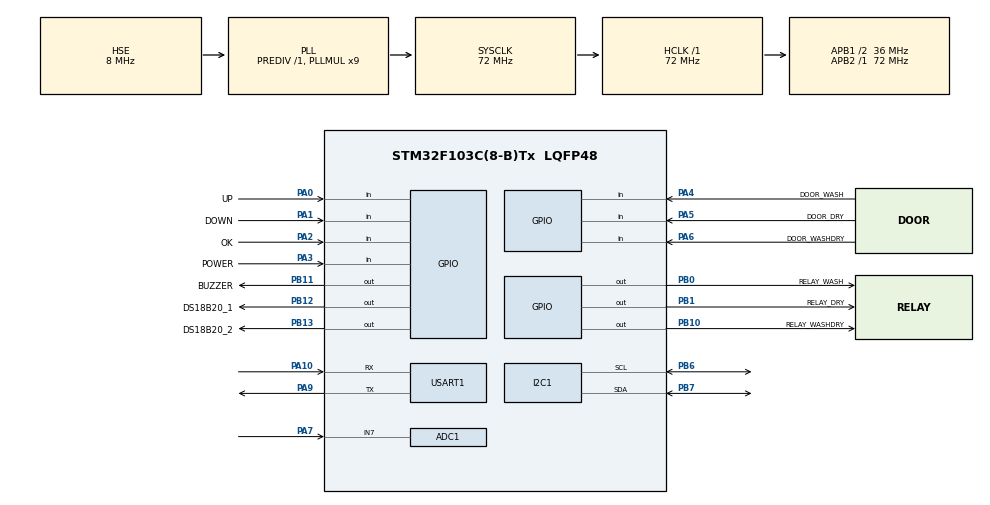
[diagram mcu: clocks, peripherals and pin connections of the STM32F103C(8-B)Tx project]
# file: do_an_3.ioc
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ADC1.Channel-0\#ChannelRegularConversion=ADC_CHANNEL_7
ADC1.ContinuousConvMode=ENABLE
ADC1.NbrOfConversionFlag=1
ADC1.Rank-0\#ChannelRegularConversion=1
ADC1.SamplingTime-0\#ChannelRegularConversion=ADC_SAMPLETIME_239CYCLES_5
ADC1.master=1
I2C1.I2C_Mode=I2C_Fast
Mcu.Family=STM32F1
Mcu.Name=STM32F103C(8-B)Tx
Mcu.Package=LQFP48
NVIC.PriorityGroup=NVIC_PRIORITYGROUP_4
NVIC.TIM2_IRQn=true\:0\:0\:false\:false\:true\:true\:true\:true
PA0-WKUP.GPIO_Label=UP
PA0-WKUP.GPIO_PuPd=GPIO_PULLUP
PA0-WKUP.Signal=GPIO_Input
PA1.GPIO_Label=DOWN
PA1.GPIO_PuPd=GPIO_PULLUP
PA1.Signal=GPIO_Input
PA10.Mode=Asynchronous
PA10.Signal=USART1_RX
PA13.Mode=Serial_Wire
PA13.Signal=SYS_JTMS-SWDIO
PA14.Mode=Serial_Wire
PA14.Signal=SYS_JTCK-SWCLK
PA2.GPIO_Label=OK
PA2.GPIO_PuPd=GPIO_PULLUP
PA2.Signal=GPIO_Input
PA3.GPIO_Label=POWER
PA3.GPIO_PuPd=GPIO_PULLUP
PA3.Signal=GPIO_Input
PA4.GPIO_Label=DOOR_WASH
PA4.GPIO_PuPd=GPIO_PULLUP
PA4.Signal=GPIO_Input
PA5.GPIO_Label=DOOR_DRY
PA5.GPIO_PuPd=GPIO_PULLUP
PA5.Signal=GPIO_Input
PA6.GPIO_Label=DOOR_WASHDRY
PA6.GPIO_PuPd=GPIO_PULLUP
PA6.Signal=GPIO_Input
PA7.Signal=ADCx_IN7
PA9.Mode=Asynchronous
PA9.Signal=USART1_TX
PB0.GPIO_Label=RELAY_WASH
PB0.Signal=GPIO_Output
PB1.GPIO_Label=RELAY_DRY
PB1.Signal=GPIO_Output
PB10.GPIO_Label=RELAY_WASHDRY
PB10.Signal=GPIO_Output
PB11.GPIO_Label=BUZZER
PB11.Signal=GPIO_Output
PB12.GPIO_Label=DS18B20_1
PB12.GPIO_ModeDefaultOutputPP=GPIO_MODE_OUTPUT_OD
PB12.GPIO_PuPd=GPIO_NOPULL
PB12.GPIO_Speed=GPIO_SPEED_FREQ_HIGH
PB12.Signal=GPIO_Output
PB13.GPIO_Label=DS18B20_2
PB13.GPIO_ModeDefaultOutputPP=GPIO_MODE_OUTPUT_OD
PB13.GPIO_PuPd=GPIO_NOPULL
PB13.GPIO_Speed=GPIO_SPEED_FREQ_HIGH
PB13.Signal=GPIO_Output
PB6.Mode=I2C
PB6.Signal=I2C1_SCL
PB7.Mode=I2C
PB7.Signal=I2C1_SDA
PD0-OSC_IN.Mode=HSE-External-Oscillator
PD0-OSC_IN.Signal=RCC_OSC_IN
PD1-OSC_OUT.Mode=HSE-External-Oscillator
PD1-OSC_OUT.Signal=RCC_OSC_OUT
ProjectManager.HeapSize=0x200
ProjectManager.StackSize=0x400
ProjectManager.TargetToolchain=MDK-ARM V5.32
RCC.ADCPresc=RCC_ADCPCLK2_DIV6
RCC.AHBFreq_Value=72000000
RCC.APB1CLKDivider=RCC_HCLK_DIV2
RCC.APB1Freq_Value=36000000
RCC.APB1TimFreq_Value=72000000
RCC.APB2Freq_Value=72000000
RCC.APB2TimFreq_Value=72000000
RCC.HCLKFreq_Value=72000000
RCC.PLLMUL=RCC_PLL_MUL9
RCC.PLLSourceVirtual=RCC_PLLSOURCE_HSE
RCC.SYSCLKFreq_VALUE=72000000
RCC.SYSCLKSource=RCC_SYSCLKSOURCE_PLLCLK
RCC.USBFreq_Value=72000000
SH.ADCx_IN7.0=ADC1_IN7,IN7
TIM2.Period=9
TIM2.Prescaler=7199
TIM3.Prescaler=71
USART1.VirtualMode=VM_ASYNC
VP_TIM2_VS_ClockSourceINT.Mode=Internal
VP_TIM3_VS_ClockSourceINT.Mode=Internal
board=custom

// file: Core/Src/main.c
/* USER CODE BEGIN Header */
/**
  ******************************************************************************
  * @file           : main.c
  * @brief          : Main program body
  ******************************************************************************
  * @attention
  *
  * Copyright (c) 2026 STMicroelectronics.
  * All rights reserved.
  *
  * This software is licensed under terms that can be found in the LICENSE file
  * in the root directory of this software component.
  * If no LICENSE file comes with this software, it is provided AS-IS.
  *
  ******************************************************************************
  */
/* USER CODE END Header */
#include "main.h"
#include "adc.h"
#include "i2c.h"
#include "tim.h"
#include "usart.h"
#include "gpio.h"

/* USER CODE BEGIN Includes */
#include "ssd1306.h"
#include "fonts.h"
#include <stdio.h>
#include <string.h>
#include "ds18b20.h"
/* USER CODE END Includes */

/* USER CODE BEGIN PV */
volatile uint32_t g_ms = 0;

uint16_t ADC_Value = 0;
uint8_t SpeedFactor = 1;

char oledStr[32];

uint32_t LastTick = 0;

/* WASH */
uint8_t WashReady = 0;
uint8_t DryReady = 0;
uint8_t WashDryReady = 0;

uint8_t WashBusy = 0;
uint8_t DryBusy = 0;
uint8_t WashDryBusy = 0;

uint32_t WashTime = 0;
uint32_t DryTime = 0;
uint32_t WashDryTime = 0;

uint8_t WashDryStage = 0;

uint8_t LocalMode = 0;

uint8_t Cursor = 0;
uint32_t OkPressStart = 0;
uint8_t LocalMenu = 0;
uint8_t OkOld = 0;
float TempDry = 0;
float TempWashDry = 0;

uint32_t TempTick = 0;

char uartRxBuf[32];
uint8_t uartRxIdx = 0;
char uartPendingCmd[32];
volatile uint8_t uartCmdPending = 0;
volatile uint8_t uartRxByte = 0;

uint32_t lastUartTimeValue = 255;
/* Bộ đếm riêng giới hạn gửi TIME qua UART tối đa 1 lần/giây */
uint32_t lastUartReportTick = 0;
/* USER CODE END PV */

void SystemClock_Config(void);

/* USER CODE BEGIN 0 */

void Relay_All_Off(void)
{
    HAL_GPIO_WritePin(GPIOB,
                      RELAY_WASH_Pin |
                      RELAY_DRY_Pin |
                      RELAY_WASHDRY_Pin,
                      GPIO_PIN_SET);
}

void Wash_On(void)
{
    HAL_GPIO_WritePin(RELAY_WASH_GPIO_Port,
                      RELAY_WASH_Pin,
                      GPIO_PIN_RESET);
}

void Dry_On(void)
{
    HAL_GPIO_WritePin(RELAY_DRY_GPIO_Port,
                      RELAY_DRY_Pin,
                      GPIO_PIN_RESET);
}

void WashDry_On(void)
{
    HAL_GPIO_WritePin(RELAY_WASHDRY_GPIO_Port,
                      RELAY_WASHDRY_Pin,
                      GPIO_PIN_RESET);
}
uint8_t BtnUP(void)
{
    return (HAL_GPIO_ReadPin(UP_GPIO_Port,UP_Pin)==GPIO_PIN_RESET);
}

uint8_t BtnDOWN(void)
{
    return (HAL_GPIO_ReadPin(DOWN_GPIO_Port,DOWN_Pin)==GPIO_PIN_RESET);
}

uint8_t BtnOK(void)
{
    return (HAL_GPIO_ReadPin(OK_GPIO_Port,OK_Pin)==GPIO_PIN_RESET);
}

uint8_t BtnPOWER(void)
{
    return (HAL_GPIO_ReadPin(POWER_GPIO_Port,POWER_Pin)==GPIO_PIN_RESET);
}
uint16_t ADC_Read(void)
{
    HAL_ADC_Start(&hadc1);

    HAL_ADC_PollForConversion(&hadc1,10);

    return HAL_ADC_GetValue(&hadc1);

}
uint8_t DoorWashClosed(void)
{
    return (HAL_GPIO_ReadPin(DOOR_WASH_GPIO_Port,
                             DOOR_WASH_Pin)
            == GPIO_PIN_RESET);
}

uint8_t DoorDryClosed(void)
{
    return (HAL_GPIO_ReadPin(DOOR_DRY_GPIO_Port,
                             DOOR_DRY_Pin)
            == GPIO_PIN_RESET);
}

uint8_t DoorWashDryClosed(void)
{
    return (HAL_GPIO_ReadPin(DOOR_WASHDRY_GPIO_Port,
                             DOOR_WASHDRY_Pin)
            == GPIO_PIN_RESET);
}
void Buzzer_On(void)
{
    HAL_GPIO_WritePin(BUZZER_GPIO_Port,
                      BUZZER_Pin,
                      GPIO_PIN_SET);
}

void Buzzer_Off(void)
{
    HAL_GPIO_WritePin(BUZZER_GPIO_Port,
                      BUZZER_Pin,
                      GPIO_PIN_RESET);
}

void Buzzer_Beep(uint8_t times)
{
    for(uint8_t i=0;i<times;i++)
    {
        Buzzer_On();
        HAL_Delay(150);

        Buzzer_Off();
        HAL_Delay(150);
    }
}
void StartWash(void)
{
    if(WashBusy == 0)
    {
        WashBusy = 1;
        WashTime = 60;

        Wash_On();
    }
}

void StartDry(void)
{
    if(DryBusy == 0)
    {
        DryBusy = 1;
        DryTime = 45;

        Dry_On();
    }
}

void StartWashDry(void)
{
    if(WashDryBusy == 0)
    {
        WashDryBusy = 1;

        WashDryStage = 1;

        WashDryTime = 60;

        WashDry_On();
    }
}
void GrantWash(void)
{
    WashReady = 1;
}

void GrantDry(void)
{
    DryReady = 1;
}

void GrantWashDry(void)
{
    WashDryReady = 1;
}

void UART_SendLine(const char *msg)
{
    HAL_UART_Transmit(&huart1,
                      (uint8_t *)msg,
                      strlen(msg),
                      100);
    HAL_UART_Transmit(&huart1,
                      (uint8_t *)"\r\n",
                      2,
                      100);
}

uint8_t MachineBusy(void)
{
    return (WashBusy || DryBusy || WashDryBusy);
}

uint8_t MachineReady(void)
{
    return (WashReady || DryReady || WashDryReady);
}

void UART_ReportTime(void)
{
    uint32_t timeLeft = 0;

    if(WashBusy)
        timeLeft = WashTime;
    else if(DryBusy)
        timeLeft = DryTime;
    else if(WashDryBusy)
        timeLeft = WashDryTime;
    else
        return;

    if(timeLeft != lastUartTimeValue)
{
    char buf[16];

    lastUartTimeValue = timeLeft;

    sprintf(buf, "TIME:%lu", timeLeft);
    UART_SendLine(buf);
}
}

void UART_NormalizeCmd(char *cmd)
{
    char *start = cmd;
    char *end;

    while(*start == ' ' || *start == '\t')
        start++;

    if(start != cmd)
        memmove(cmd, start, strlen(start) + 1);

    end = cmd + strlen(cmd);
    while(end > cmd)
    {
        char c = *(end - 1);

        if(c == ' ' || c == '\t' || c == '\r' || c == '\n')
        {
            *(--end) = '\0';
        }
        else
        {
            break;
        }
    }

    for(char *p = cmd; *p; p++)
    {
        if(*p >= 'a' && *p <= 'z')
            *p = (char)(*p - 'a' + 'A');
    }
}

void ProcessUARTCommand(char *cmd)
{
    UART_NormalizeCmd(cmd);

    if(strlen(cmd) == 0)
        return;

    if(strcmp(cmd, "WASH") == 0)
    {
        if(MachineBusy())
        {
            UART_SendLine("BUSY");
            return;
        }

        GrantWash();
        LocalMenu = 0;
        Buzzer_Beep(2);
        UART_SendLine("WASH READY");
				lastUartTimeValue = 255;
UART_ReportTime();
    }
    else if(strcmp(cmd, "DRY") == 0)
    {
        if(MachineBusy())
        {
            UART_SendLine("BUSY");
            return;
        }

        GrantDry();
        LocalMenu = 0;
        Buzzer_Beep(2);
        UART_SendLine("DRY READY");
				lastUartTimeValue = 255;
UART_ReportTime();
    }
    else if(strcmp(cmd, "WASHDRY") == 0)
    {
        if(MachineBusy())
        {
            UART_SendLine("BUSY");
            return;
        }

        GrantWashDry();
        LocalMenu = 0;
        Buzzer_Beep(2);
        UART_SendLine("WASHDRY READY");
				lastUartTimeValue = 255;
UART_ReportTime();
    }
    else if(strcmp(cmd, "STOP") == 0)
    {
        WashReady = 0;
        DryReady = 0;
        WashDryReady = 0;
        WashBusy = 0;
        DryBusy = 0;
        WashDryBusy = 0;
        WashDryStage = 0;

        Relay_All_Off();
        /* FIX: gửi TIME:0 trước FREE để Blynk reset V3 đồng bộ */
        UART_SendLine("TIME:0");
        lastUartTimeValue = 255;

        UART_SendLine("FREE");
    }
    else
    {
        UART_SendLine("ERROR");
    }
}

void UART_OnByte(uint8_t c)
{
    if(c == '\r' || c == '\n')
    {
        if(uartRxIdx > 0)
        {
            uartRxBuf[uartRxIdx] = '\0';
            strncpy(uartPendingCmd, uartRxBuf, sizeof(uartPendingCmd) - 1);
            uartPendingCmd[sizeof(uartPendingCmd) - 1] = '\0';
            uartCmdPending = 1;
            uartRxIdx = 0;
        }
    }
    else if(uartRxIdx < (sizeof(uartRxBuf) - 1))
    {
        uartRxBuf[uartRxIdx++] = c;
    }
    else
    {
        uartRxIdx = 0;
    }
}

void UART_StartReceive(void)
{
    uartRxIdx = 0;
    uartCmdPending = 0;
    HAL_UART_Receive_IT(&huart1, (uint8_t *)&uartRxByte, 1);
}

void UART_ProcessPending(void)
{
    if(uartCmdPending)
    {
        uartCmdPending = 0;
        ProcessUARTCommand(uartPendingCmd);
    }
}
/* USER CODE END 0 */

int main(void)
{

  /* MCU Configuration--------------------------------------------------------*/

  /* Reset of all peripherals, Initializes the Flash interface and the Systick. */
  HAL_Init();

  /* Configure the system clock */
  SystemClock_Config();

  /* Initialize all configured peripherals */
  MX_GPIO_Init();
  MX_I2C1_Init();
  MX_TIM2_Init();
  MX_USART1_UART_Init();
  MX_ADC1_Init();
  MX_TIM3_Init();
  /* USER CODE BEGIN 2 */
HAL_TIM_Base_Start_IT(&htim2);
HAL_TIM_Base_Start(&htim3);

Relay_All_Off();
Buzzer_Off();

SSD1306_Init();

SSD1306_Fill(SSD1306_COLOR_BLACK);
SSD1306_UpdateScreen();

SSD1306_Fill(SSD1306_COLOR_BLACK);

SSD1306_GotoXY(0,0);

SSD1306_Puts("STM32 READY",
             &Font_7x10,
             SSD1306_COLOR_WHITE);

SSD1306_UpdateScreen();

UART_StartReceive();
UART_SendLine("FREE");

  /* USER CODE END 2 */

  /* Infinite loop */
  /* USER CODE BEGIN WHILE */
while(1)
{
    UART_ProcessPending();

    ADC_Value = ADC_Read();

    SpeedFactor = 1 + (ADC_Value * 19) / 4095;
	if((g_ms - TempTick) >= 15000)
{
    TempTick = g_ms;

    TempDry =
        DS18B20_Read(DS18B20_1_GPIO_Port,
                     DS18B20_1_Pin);

    TempWashDry =
        DS18B20_Read(DS18B20_2_GPIO_Port,
                     DS18B20_2_Pin);
}
if(TempDry > 60)
{
    DryBusy = 0;
    DryReady = 0;

    HAL_GPIO_WritePin(RELAY_DRY_GPIO_Port,
                      RELAY_DRY_Pin,
                      GPIO_PIN_SET);

    Buzzer_Beep(5);
    UART_SendLine("ERROR");
    UART_SendLine("FREE");
    lastUartTimeValue = 255;
}

if(TempWashDry > 60)
{
    WashDryBusy = 0;
    WashDryReady = 0;

    HAL_GPIO_WritePin(RELAY_WASHDRY_GPIO_Port,
                      RELAY_WASHDRY_Pin,
                      GPIO_PIN_SET);

    Buzzer_Beep(5);
    UART_SendLine("ERROR");
    UART_SendLine("FREE");
    lastUartTimeValue = 255;
}
uint8_t OkNew = BtnOK();

if(OkNew && !OkOld)
{
    if(LocalMenu == 0)
    {
        LocalMenu = 1;

        while(BtnOK());

        HAL_Delay(20);
    }
}

OkOld = OkNew;

	if(BtnPOWER())
{
    if(WashReady &&
       DoorWashClosed())
    {
        WashReady = 0;
        StartWash();

UART_SendLine("BUSY");

lastUartTimeValue = 255;
UART_ReportTime();
    }

    if(DryReady &&
       DoorDryClosed())
    {
        DryReady = 0;
        StartDry();
UART_SendLine("BUSY");

lastUartTimeValue = 255;
UART_ReportTime();
    }

    if(WashDryReady &&
       DoorWashDryClosed())
    {
        WashDryReady = 0;
        StartWashDry();

UART_SendLine("BUSY");

lastUartTimeValue = 255;
UART_ReportTime();
    }

    HAL_Delay(20);
}
if(LocalMenu)
{
    if(BtnUP())
    {
        if(Cursor > 0)
            Cursor--;

        HAL_Delay(200);
    }

    if(BtnDOWN())
    {
        if(Cursor < 2)
            Cursor++;

        HAL_Delay(200);
    }

    if(BtnOK())
{
    while(BtnOK());

    switch(Cursor)
    {
        case 0:
    GrantWash();
    UART_SendLine("WASH READY");
    lastUartTimeValue = 255;
    UART_ReportTime();
    break;

case 1:
    GrantDry();
    UART_SendLine("DRY READY");
    lastUartTimeValue = 255;
    UART_ReportTime();
    break;

case 2:
    GrantWashDry();
    UART_SendLine("WASHDRY READY");
    lastUartTimeValue = 255;
    UART_ReportTime();
    break;
    }

    LocalMenu = 0;

    HAL_Delay(20);
}

		if(BtnPOWER())
{
    LocalMenu = 0;
    HAL_Delay(50);
}
}

    if(g_ms - LastTick >= (1000 / SpeedFactor))
{
    LastTick = g_ms;

    if(WashBusy && WashTime)
        WashTime--;

    if(DryBusy && DryTime)
        DryTime--;

    if(WashDryBusy && WashDryTime)
        WashDryTime--;

    /* Gửi TIME qua UART tối đa 1 lần/giây, không phụ thuộc SpeedFactor.
       Tránh flood Blynk khi SpeedFactor > 1 */
    if(MachineBusy() && (g_ms - lastUartReportTick >= 1000))
    {
        lastUartReportTick = g_ms;
        lastUartTimeValue = 255; /* force gửi TIME hiện tại */
        UART_ReportTime();
    }
}

    if(WashBusy && WashTime == 0)
    {
        WashBusy = 0;
			WashReady = 0;

        HAL_GPIO_WritePin(RELAY_WASH_GPIO_Port,
                          RELAY_WASH_Pin,
                          GPIO_PIN_SET);

        /* FIX: gửi TIME:0 trước để Blynk reset V3 đồng bộ */
        UART_SendLine("TIME:0");
        lastUartTimeValue = 0;
        Buzzer_Beep(3);
        UART_SendLine("FINISHED");
        UART_SendLine("FREE");
        lastUartTimeValue = 255;
    }

    if(DryBusy && DryTime == 0)
    {
        DryBusy = 0;
        DryReady = 0;

        HAL_GPIO_WritePin(RELAY_DRY_GPIO_Port,
                          RELAY_DRY_Pin,
                          GPIO_PIN_SET);

        /* FIX: gửi TIME:0 trước để Blynk reset V3 đồng bộ */
        UART_SendLine("TIME:0");
        lastUartTimeValue = 0;
        Buzzer_Beep(3);
        UART_SendLine("FINISHED");
        UART_SendLine("FREE");
        lastUartTimeValue = 255;
    }

    if(WashDryBusy && WashDryTime == 0)
    {
        if(WashDryStage == 1)
{
    WashDryStage = 2;

    WashDryTime = 45;

    lastUartTimeValue = 255;
    UART_SendLine("BUSY");
    UART_ReportTime();
}
        else
        {
            WashDryBusy = 0;
            WashDryReady = 0;
            HAL_GPIO_WritePin(RELAY_WASHDRY_GPIO_Port,
                              RELAY_WASHDRY_Pin,
                              GPIO_PIN_SET);

            /* FIX: gửi TIME:0 trước để Blynk reset V3 đồng bộ */
            UART_SendLine("TIME:0");
            lastUartTimeValue = 0;
            Buzzer_Beep(3);
            UART_SendLine("FINISHED");
            UART_SendLine("FREE");
            lastUartTimeValue = 255;
        }
    }

if(LocalMenu)
{
    SSD1306_Fill(SSD1306_COLOR_BLACK);

    SSD1306_GotoXY(0,0);
    SSD1306_Puts("LOCAL MODE",
                 &Font_7x10,
                 SSD1306_COLOR_WHITE);

    SSD1306_GotoXY(0,20);

    if(Cursor == 0)
        SSD1306_Puts(">WASH",
                     &Font_7x10,
                     SSD1306_COLOR_WHITE);
    else
        SSD1306_Puts(" WASH",
                     &Font_7x10,
                     SSD1306_COLOR_WHITE);

    SSD1306_GotoXY(0,35);

    if(Cursor == 1)
        SSD1306_Puts(">DRY",
                     &Font_7x10,
                     SSD1306_COLOR_WHITE);
    else
        SSD1306_Puts(" DRY",
                     &Font_7x10,
                     SSD1306_COLOR_WHITE);

    SSD1306_GotoXY(0,50);

    if(Cursor == 2)
        SSD1306_Puts(">W+D",
                     &Font_7x10,
                     SSD1306_COLOR_WHITE);
    else
        SSD1306_Puts(" W+D",
                     &Font_7x10,
                     SSD1306_COLOR_WHITE);

    SSD1306_UpdateScreen();

    HAL_Delay(50);

    continue;
}
    SSD1306_Fill(SSD1306_COLOR_BLACK);

  SSD1306_GotoXY(0,0);

if(WashBusy)
{
    sprintf(oledStr,"WASH:%lus",WashTime);
}
else if(WashReady)
{
    sprintf(oledStr,"WASH:READY");
}
else
{
    sprintf(oledStr,"WASH:FREE");
}

SSD1306_Puts(oledStr,
             &Font_7x10,
             SSD1306_COLOR_WHITE);

   SSD1306_GotoXY(0,20);

if(DryBusy)
{
    sprintf(oledStr,
            "DRY:%lus %.0fC",
            DryTime,
            TempDry);
}
else if(DryReady)
{
    sprintf(oledStr,
            "DRY:READY %.0fC",
            TempDry);
}
else
{
    sprintf(oledStr,
            "DRY:FREE %.0fC",
            TempDry);
}

SSD1306_Puts(oledStr,
             &Font_7x10,
             SSD1306_COLOR_WHITE);

   SSD1306_GotoXY(0,40);

if(WashDryBusy)
{
    if(WashDryStage == 1)
    {
        sprintf(oledStr,
                "W+D:W%lu %.0fC",
                WashDryTime,
                TempWashDry);
    }
    else
    {
        sprintf(oledStr,
                "W+D:D%lu %.0fC",
                WashDryTime,
                TempWashDry);
    }
}
else if(WashDryReady)
{
    sprintf(oledStr,
            "W+D:READY %.0fC",
            TempWashDry);
}
else
{
    sprintf(oledStr,
            "W+D:FREE %.0fC",
            TempWashDry);
}

SSD1306_Puts(oledStr,
             &Font_7x10,
             SSD1306_COLOR_WHITE);

    SSD1306_UpdateScreen();

    HAL_Delay(10);
}

    /* USER CODE END WHILE */

  }

void SystemClock_Config(void)
{
  RCC_OscInitTypeDef RCC_OscInitStruct = {0};
  RCC_ClkInitTypeDef RCC_ClkInitStruct = {0};
  RCC_PeriphCLKInitTypeDef PeriphClkInit = {0};

  /** Initializes the RCC Oscillators according to the specified parameters
  * in the RCC_OscInitTypeDef structure.
  */
  RCC_OscInitStruct.OscillatorType = RCC_OSCILLATORTYPE_HSE;
  RCC_OscInitStruct.HSEState = RCC_HSE_ON;
  RCC_OscInitStruct.HSEPredivValue = RCC_HSE_PREDIV_DIV1;
  RCC_OscInitStruct.HSIState = RCC_HSI_ON;
  RCC_OscInitStruct.PLL.PLLState = RCC_PLL_ON;
  RCC_OscInitStruct.PLL.PLLSource = RCC_PLLSOURCE_HSE;
  RCC_OscInitStruct.PLL.PLLMUL = RCC_PLL_MUL9;
  if (HAL_RCC_OscConfig(&RCC_OscInitStruct) != HAL_OK)
  {
    Error_Handler();
  }

  /** Initializes the CPU, AHB and APB buses clocks
  */
  RCC_ClkInitStruct.ClockType = RCC_CLOCKTYPE_HCLK|RCC_CLOCKTYPE_SYSCLK
                              |RCC_CLOCKTYPE_PCLK1|RCC_CLOCKTYPE_PCLK2;
  RCC_ClkInitStruct.SYSCLKSource = RCC_SYSCLKSOURCE_PLLCLK;
  RCC_ClkInitStruct.AHBCLKDivider = RCC_SYSCLK_DIV1;
  RCC_ClkInitStruct.APB1CLKDivider = RCC_HCLK_DIV2;
  RCC_ClkInitStruct.APB2CLKDivider = RCC_HCLK_DIV1;

  if (HAL_RCC_ClockConfig(&RCC_ClkInitStruct, FLASH_LATENCY_2) != HAL_OK)
  {
    Error_Handler();
  }
  PeriphClkInit.PeriphClockSelection = RCC_PERIPHCLK_ADC;
  PeriphClkInit.AdcClockSelection = RCC_ADCPCLK2_DIV6;
  if (HAL_RCCEx_PeriphCLKConfig(&PeriphClkInit) != HAL_OK)
  {
    Error_Handler();
  }
}

/* USER CODE BEGIN 4 */
void HAL_TIM_PeriodElapsedCallback(TIM_HandleTypeDef *htim)
{
    if(htim->Instance == TIM2)
    {
        g_ms++;
    }
}

void HAL_UART_RxCpltCallback(UART_HandleTypeDef *huart)
{
    if(huart->Instance == USART1)
    {
        UART_OnByte(uartRxByte);
        HAL_UART_Receive_IT(&huart1, (uint8_t *)&uartRxByte, 1);
    }
}
/* USER CODE END 4 */

void Error_Handler(void)
{
  __disable_irq();
  while (1)
  {
  }
}
